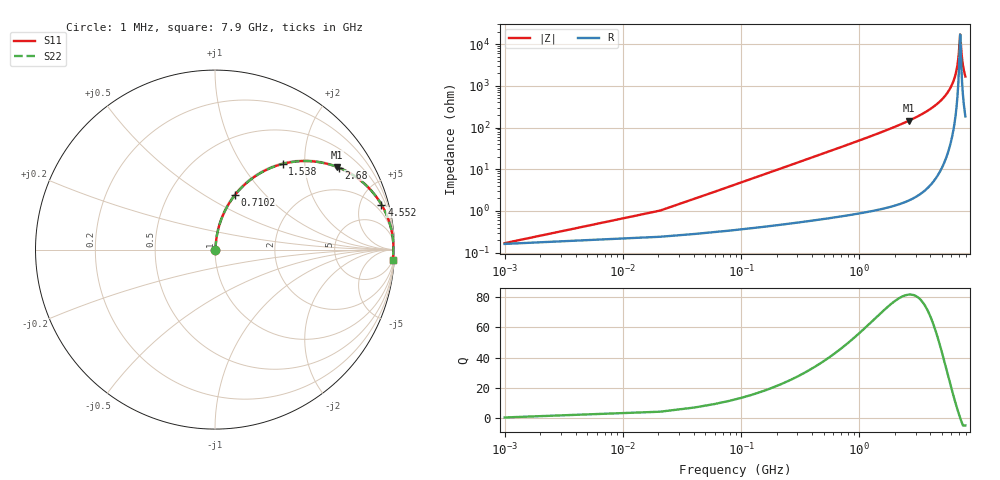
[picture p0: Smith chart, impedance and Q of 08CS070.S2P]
! Coilcraft 0805CS-070 Chip Inductor
! 11 June 2002
# MHZ S MA R 50
!Freq  MagS11  AngS11  MagS21  AngS21  MagS12  AngS12  MagS22  AngS22
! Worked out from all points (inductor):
!   402 points, 1 MHz to 7.9 GHz, reference 50 ohm
!   read as one part in series: L = 7.65 nH near 40.4 MHz
!   highest Q = 81.8 at 2.641 GHz (marker M1), where L = 8.86 nH
!   self-resonance near 7.132 GHz
!   S11 on the Smith chart (normalised r, x): 1 MHz: 1.00, +0.00; 710.2 MHz: 1.01, +0.69; 1.538 GHz: 1.02, +1.55; 2.68 GHz: 1.04, +3.00; 4.552 GHz: 1.13, +7.37; 7.9 GHz: 5, -33
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1  0.001689 16.5  0.9984 -0.0  0.9984 -0.0  0.001689 16.5
60.1  0.02896 82.2  0.9965 -1.6  0.9965 -1.6  0.02896 82.2
99.5  0.04774 82.9  0.9953 -2.7  0.9953 -2.7  0.04774 82.9
158.6  0.07585 82.5  0.993 -4.3  0.993 -4.3  0.07585 82.5
257.1  0.1223 80.7  0.9876 -7.0  0.9876 -7.0  0.1223 80.7
375.3  0.1771 78.0  0.9786 -10.2  0.9786 -10.2  0.1771 78.0
710.2  0.3239 69.9  0.9391 -18.9  0.9391 -18.9  0.3239 69.9
1320.9  0.5455 56.1  0.8297 -33.1  0.8297 -33.1  0.5455 56.1
1537.6  0.6084 51.7  0.785 -37.5  0.785 -37.5  0.6084 51.7
2640.8  0.8223 34.0  0.5591 -55.3  0.5591 -55.3  0.8223 34.0
2680.2  0.8274 33.5  0.5516 -55.8  0.5516 -55.8  0.8274 33.5
3960.7  0.9354 19.9  0.3401 -69.3  0.3401 -69.3  0.9354 19.9
4551.7  0.9607 15.1  0.2606 -73.9  0.2606 -73.9  0.9607 15.1
5280.6  0.9798 10.1  0.1748 -78.4  0.1748 -78.4  0.9798 10.1
6068.6  0.9905 5.4  0.09424 -81.5  0.09424 -81.5  0.9905 5.4
6600.5  0.9936 2.6  0.04569 -80.6  0.04569 -80.6  0.9936 2.6
6876.3  0.9942 1.2  0.02235 -74.3  0.02235 -74.3  0.9942 1.2
7132.4  0.9942 0.0  0.00582 -4.4  0.00582 -4.4  0.9942 0.0
7171.8  0.9942 -0.2  0.006449 25.0  0.006449 25.0  0.9942 -0.2
7349.1  0.9939 -1.0  0.01792 69.5  0.01792 69.5  0.9939 -1.0
7467.3  0.9936 -1.5  0.02683 75.4  0.02683 75.4  0.9936 -1.5
7900  0.9918 -3.4  0.05909 80.3  0.05909 80.3  0.9918 -3.4
